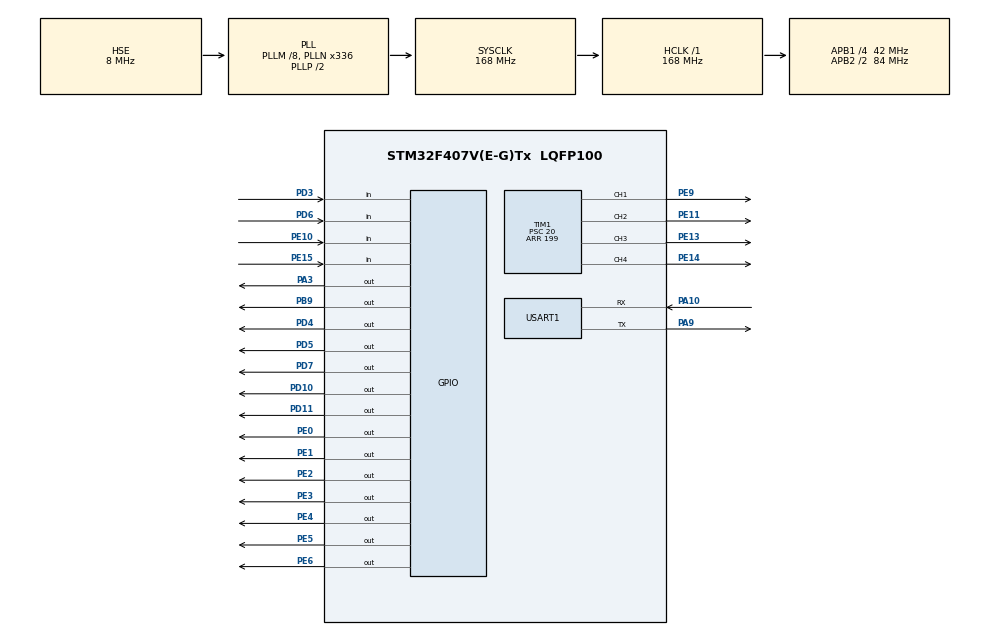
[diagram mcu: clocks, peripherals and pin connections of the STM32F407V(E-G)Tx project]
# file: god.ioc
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Mcu.Family=STM32F4
Mcu.Name=STM32F407V(E-G)Tx
Mcu.Package=LQFP100
NVIC.PriorityGroup=NVIC_PRIORITYGROUP_4
PA10.Mode=Asynchronous
PA10.Signal=USART1_RX
PA13.Mode=Serial_Wire
PA13.Signal=SYS_JTMS-SWDIO
PA14.Mode=Serial_Wire
PA14.Signal=SYS_JTCK-SWCLK
PA3.GPIO_PuPd=GPIO_PULLUP
PA3.Signal=GPIO_Output
PA9.Mode=Asynchronous
PA9.Signal=USART1_TX
PB9.GPIO_PuPd=GPIO_PULLUP
PB9.Signal=GPIO_Output
PD10.GPIO_PuPd=GPIO_PULLUP
PD10.Signal=GPIO_Output
PD11.GPIO_PuPd=GPIO_PULLUP
PD11.Signal=GPIO_Output
PD3.GPIO_PuPd=GPIO_PULLUP
PD3.Signal=GPIO_Input
PD4.Signal=GPIO_Output
PD5.Signal=GPIO_Output
PD6.GPIO_PuPd=GPIO_PULLUP
PD6.Signal=GPIO_Input
PD7.Signal=GPIO_Output
PE0.GPIO_PuPd=GPIO_PULLUP
PE0.Signal=GPIO_Output
PE1.GPIO_PuPd=GPIO_PULLUP
PE1.Signal=GPIO_Output
PE10.GPIO_PuPd=GPIO_PULLUP
PE10.Signal=GPIO_Input
PE11.Signal=S_TIM1_CH2
PE13.Signal=S_TIM1_CH3
PE14.Signal=S_TIM1_CH4
PE15.GPIO_PuPd=GPIO_PULLUP
PE15.Signal=GPIO_Input
PE2.GPIO_PuPd=GPIO_PULLUP
PE2.Signal=GPIO_Output
PE3.GPIO_PuPd=GPIO_PULLUP
PE3.Signal=GPIO_Output
PE4.GPIO_PuPd=GPIO_PULLUP
PE4.Signal=GPIO_Output
PE5.GPIO_PuPd=GPIO_PULLUP
PE5.Signal=GPIO_Output
PE6.GPIO_PuPd=GPIO_PULLUP
PE6.Signal=GPIO_Output
PE9.Signal=S_TIM1_CH1
PH0-OSC_IN.Mode=HSE-External-Oscillator
PH0-OSC_IN.Signal=RCC_OSC_IN
PH1-OSC_OUT.Mode=HSE-External-Oscillator
PH1-OSC_OUT.Signal=RCC_OSC_OUT
ProjectManager.HeapSize=0x200
ProjectManager.StackSize=0x400
ProjectManager.TargetToolchain=MDK-ARM V5.32
RCC.48MHZClocksFreq_Value=84000000
RCC.AHBFreq_Value=168000000
RCC.APB1CLKDivider=RCC_HCLK_DIV4
RCC.APB1Freq_Value=42000000
RCC.APB1TimFreq_Value=84000000
RCC.APB2CLKDivider=RCC_HCLK_DIV2
RCC.APB2Freq_Value=84000000
RCC.APB2TimFreq_Value=168000000
RCC.CortexFreq_Value=168000000
RCC.HCLKFreq_Value=168000000
RCC.HSE_VALUE=8000000
RCC.HSI_VALUE=16000000
RCC.LSE_VALUE=32768
RCC.PLLM=8
RCC.PLLN=336
RCC.PLLSourceVirtual=RCC_PLLSOURCE_HSE
RCC.SYSCLKFreq_VALUE=168000000
RCC.SYSCLKSource=RCC_SYSCLKSOURCE_PLLCLK
RCC.VCOOutputFreq_Value=336000000
SH.S_TIM1_CH1.0=TIM1_CH1,PWM Generation1 CH1
SH.S_TIM1_CH2.0=TIM1_CH2,PWM Generation2 CH2
SH.S_TIM1_CH3.0=TIM1_CH3,PWM Generation3 CH3
SH.S_TIM1_CH4.0=TIM1_CH4,PWM Generation4 CH4
TIM1.Channel-PWM\ Generation1\ CH1=TIM_CHANNEL_1
TIM1.Channel-PWM\ Generation2\ CH2=TIM_CHANNEL_2
TIM1.Channel-PWM\ Generation3\ CH3=TIM_CHANNEL_3
TIM1.Channel-PWM\ Generation4\ CH4=TIM_CHANNEL_4
TIM1.Period=199
TIM1.Prescaler=20
USART1.VirtualMode=VM_ASYNC
board=custom

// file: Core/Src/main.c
/* USER CODE BEGIN Header */
/**
  ******************************************************************************
  * @file           : main.c
  * @brief          : Main program body
  ******************************************************************************
  * @attention
  *
  * Copyright (c) 2026 STMicroelectronics.
  * All rights reserved.
  *
  * This software is licensed under terms that can be found in the LICENSE file
  * in the root directory of this software component.
  * If no LICENSE file comes with this software, it is provided AS-IS.
  *
  ******************************************************************************
  */
/* USER CODE END Header */
#include "main.h"
#include "tim.h"
#include "usart.h"
#include "gpio.h"

/* USER CODE BEGIN Includes */

#include "remote_control.h"
#include "ax_ps2.h"
#include <stdio.h>

/* USER CODE END Includes */

/* USER CODE BEGIN PV */

RC_ctrl_t *g_rc;                  // 遥控器数据指针（双缓冲数组，TEMP=当前帧，LAST=上一帧）
uint32_t g_lastScanTick = 0;      // 上次扫描时间戳
uint32_t g_lastPrintTick = 0;     // 上次打印时间戳

/* USER CODE END PV */

void SystemClock_Config(void);

int main(void)
{

  /* MCU Configuration--------------------------------------------------------*/

  /* Reset of all peripherals, Initializes the Flash interface and the Systick. */
  HAL_Init();

  /* Configure the system clock */
  SystemClock_Config();

  /* Initialize all configured peripherals */
  MX_GPIO_Init();
  MX_TIM1_Init();
  MX_USART1_UART_Init();
  /* USER CODE BEGIN 2 */
  g_rc = RemoteControlInit();              // 初始化PS2手柄+遥控器抽象层（内含AX_PS2_Init/DWT_Init）
  printf("PS2 Remote Control Test Start\r\n");
  g_lastScanTick = HAL_GetTick();
  g_lastPrintTick = HAL_GetTick();
  /* USER CODE END 2 */

  /* Infinite loop */
  while (1)
  {

    /* USER CODE BEGIN 3 */
    uint32_t now = HAL_GetTick();

    /* ---- 每 20ms 扫描一次PS2手柄 ---- */
    if (now - g_lastScanTick >= 20)
    {
      g_lastScanTick = now;
      RemoteControlUpdate();               // 读取PS2原始数据并转换为标准化RC通道
    }

    /* ---- 每 200ms 打印一次手柄数据 ---- */
    if (now - g_lastPrintTick >= 200)
    {
      g_lastPrintTick = now;

      if (RemoteControlIsOnline())
      {
        RC_Channel_t *ch = &g_rc[TEMP].rc;

        printf("M:%02X | "
               "RockL:%+4d,%+4d RockR:%+4d,%+4d | "
               "Btn:%c%c%c%c%c%c%c%c%c%c%c%c%c%c%c%c\r\n",
               g_rc[TEMP].mode,
               ch->rocker_l_x, ch->rocker_l_y,
               ch->rocker_r_x, ch->rocker_r_y,
               ch->select   ? 'S' : '-',
               ch->l3       ? '3' : '-',
               ch->r3       ? 'R' : '-',
               ch->start    ? 'T' : '-',
               ch->up       ? 'U' : '-',
               ch->down     ? 'D' : '-',
               ch->left     ? 'L' : '-',
               ch->right    ? 'r' : '-',
               ch->l1       ? '1' : '-',
               ch->l2       ? '2' : '-',
               ch->r1       ? '!': '-',
               ch->r2       ? '@' : '-',
               ch->triangle ? '^' : '-',
               ch->circle   ? 'O' : '-',
               ch->cross    ? 'X' : '-',
               ch->square   ? '#' : '-');
      }
      else
      {
        const uint8_t *raw = AX_PS2_GetRawData();
        printf("PS2 NOT Conn | RAW:%02X %02X %02X %02X %02X %02X %02X %02X %02X\r\n",
               raw[0], raw[1], raw[2], raw[3], raw[4], raw[5], raw[6], raw[7], raw[8]);
      }
    }
  }
  /* USER CODE END 3 */
}

void SystemClock_Config(void)
{
  RCC_OscInitTypeDef RCC_OscInitStruct = {0};
  RCC_ClkInitTypeDef RCC_ClkInitStruct = {0};

  /** Configure the main internal regulator output voltage
  */
  __HAL_RCC_PWR_CLK_ENABLE();
  __HAL_PWR_VOLTAGESCALING_CONFIG(PWR_REGULATOR_VOLTAGE_SCALE1);

  /** Initializes the RCC Oscillators according to the specified parameters
  * in the RCC_OscInitTypeDef structure.
  */
  RCC_OscInitStruct.OscillatorType = RCC_OSCILLATORTYPE_HSE;
  RCC_OscInitStruct.HSEState = RCC_HSE_ON;
  RCC_OscInitStruct.PLL.PLLState = RCC_PLL_ON;
  RCC_OscInitStruct.PLL.PLLSource = RCC_PLLSOURCE_HSE;
  RCC_OscInitStruct.PLL.PLLM = 8;
  RCC_OscInitStruct.PLL.PLLN = 336;
  RCC_OscInitStruct.PLL.PLLP = RCC_PLLP_DIV2;
  RCC_OscInitStruct.PLL.PLLQ = 4;
  if (HAL_RCC_OscConfig(&RCC_OscInitStruct) != HAL_OK)
  {
    Error_Handler();
  }

  /** Initializes the CPU, AHB and APB buses clocks
  */
  RCC_ClkInitStruct.ClockType = RCC_CLOCKTYPE_HCLK|RCC_CLOCKTYPE_SYSCLK
                              |RCC_CLOCKTYPE_PCLK1|RCC_CLOCKTYPE_PCLK2;
  RCC_ClkInitStruct.SYSCLKSource = RCC_SYSCLKSOURCE_PLLCLK;
  RCC_ClkInitStruct.AHBCLKDivider = RCC_SYSCLK_DIV1;
  RCC_ClkInitStruct.APB1CLKDivider = RCC_HCLK_DIV4;
  RCC_ClkInitStruct.APB2CLKDivider = RCC_HCLK_DIV2;

  if (HAL_RCC_ClockConfig(&RCC_ClkInitStruct, FLASH_LATENCY_5) != HAL_OK)
  {
    Error_Handler();
  }
}

void Error_Handler(void)
{
  __disable_irq();
  while (1)
  {
  }
}
